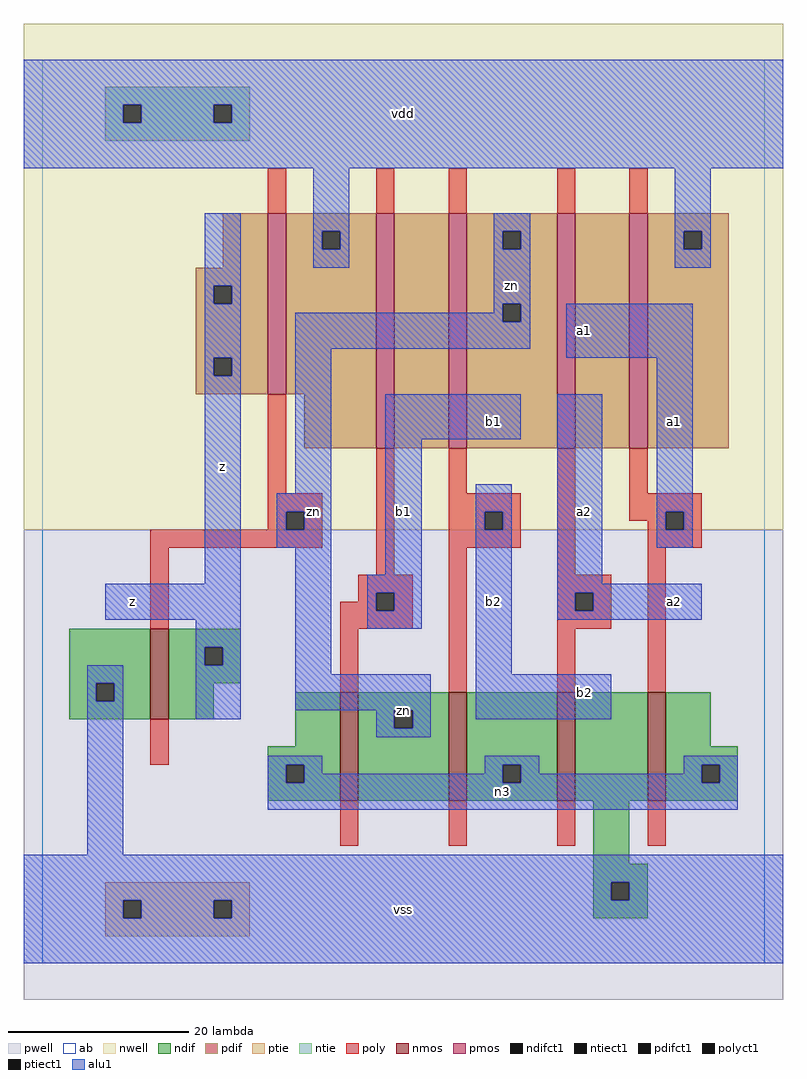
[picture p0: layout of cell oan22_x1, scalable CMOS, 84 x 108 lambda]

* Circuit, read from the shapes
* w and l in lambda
.subckt oan22_x1 a1 a2 b1 b2 n3 vdd vss z zn
M1 z zn vss vss nfet w=10 l=2
M2 zn b1 n3 vss nfet w=12 l=2
M3 n3 b2 zn vss nfet w=12 l=2
M4 vss a2 n3 vss nfet w=12 l=2
M5 n3 a1 vss vss nfet w=12 l=2
M6 vdd zn z vdd pfet w=20 l=2
M7 n1 b1 vdd vdd pfet w=26 l=2
M8 zn b2 n1 vdd pfet w=26 l=2
M9 n2 a2 zn vdd pfet w=26 l=2
M10 vdd a1 n2 vdd pfet w=26 l=2
.ends

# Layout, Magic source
magic
tech scmos
<< ab >>
rect 0 0 80 100
<< nwell >>
rect -2 48 82 104
<< pwell >>
rect -2 -4 82 48
<< poly >>
rect 25 83 27 88
rect 37 83 39 88
rect 45 83 47 88
rect 57 83 59 88
rect 65 83 67 88
rect 25 52 27 63
rect 25 50 31 52
rect 25 48 27 50
rect 29 48 31 50
rect 12 46 31 48
rect 12 37 14 46
rect 37 43 39 57
rect 45 52 47 57
rect 45 50 53 52
rect 45 48 49 50
rect 51 48 53 50
rect 45 46 53 48
rect 35 41 41 43
rect 35 40 37 41
rect 33 39 37 40
rect 39 39 41 41
rect 33 37 41 39
rect 33 30 35 37
rect 45 30 47 46
rect 57 43 59 57
rect 65 52 67 57
rect 65 50 73 52
rect 65 49 69 50
rect 67 48 69 49
rect 71 48 73 50
rect 67 46 73 48
rect 57 41 63 43
rect 57 39 59 41
rect 61 39 63 41
rect 57 37 63 39
rect 57 30 59 37
rect 67 30 69 46
rect 12 22 14 27
rect 33 13 35 18
rect 45 13 47 18
rect 57 13 59 18
rect 67 13 69 18
<< ndif >>
rect 3 31 12 37
rect 3 29 6 31
rect 8 29 12 31
rect 3 27 12 29
rect 14 35 22 37
rect 14 33 18 35
rect 20 33 22 35
rect 14 31 22 33
rect 14 27 19 31
rect 28 24 33 30
rect 25 22 33 24
rect 25 20 27 22
rect 29 20 33 22
rect 25 18 33 20
rect 35 28 45 30
rect 35 26 39 28
rect 41 26 45 28
rect 35 18 45 26
rect 47 22 57 30
rect 47 20 51 22
rect 53 20 57 22
rect 47 18 57 20
rect 59 18 67 30
rect 69 24 74 30
rect 69 22 77 24
rect 69 20 73 22
rect 75 20 77 22
rect 69 18 77 20
rect 61 11 65 18
rect 61 9 67 11
rect 61 7 63 9
rect 65 7 67 9
rect 61 5 67 7
<< pdif >>
rect 20 77 25 83
rect 17 75 25 77
rect 17 73 19 75
rect 21 73 25 75
rect 17 67 25 73
rect 17 65 19 67
rect 21 65 25 67
rect 17 63 25 65
rect 27 81 37 83
rect 27 79 31 81
rect 33 79 37 81
rect 27 63 37 79
rect 29 57 37 63
rect 39 57 45 83
rect 47 81 57 83
rect 47 79 51 81
rect 53 79 57 81
rect 47 73 57 79
rect 47 71 51 73
rect 53 71 57 73
rect 47 57 57 71
rect 59 57 65 83
rect 67 81 76 83
rect 67 79 71 81
rect 73 79 76 81
rect 67 57 76 79
<< alu1 >>
rect -2 95 82 100
rect -2 93 9 95
rect 11 93 19 95
rect 21 93 82 95
rect -2 88 82 93
rect 18 75 22 83
rect 30 81 34 88
rect 30 79 31 81
rect 33 79 34 81
rect 30 77 34 79
rect 50 81 54 83
rect 50 79 51 81
rect 53 79 54 81
rect 18 73 19 75
rect 21 73 22 75
rect 18 67 22 73
rect 50 73 54 79
rect 70 81 74 88
rect 70 79 71 81
rect 73 79 74 81
rect 70 77 74 79
rect 50 72 51 73
rect 18 65 19 67
rect 21 65 22 67
rect 18 42 22 65
rect 28 71 51 72
rect 53 71 54 73
rect 28 68 54 71
rect 28 52 32 68
rect 58 67 72 73
rect 26 50 32 52
rect 26 48 27 50
rect 29 48 32 50
rect 26 46 32 48
rect 7 38 22 42
rect 17 35 22 38
rect 17 33 18 35
rect 20 33 22 35
rect 5 31 9 33
rect 5 29 6 31
rect 8 29 9 31
rect 5 12 9 29
rect 17 27 22 33
rect 28 32 32 46
rect 38 58 53 63
rect 38 43 42 58
rect 36 41 42 43
rect 36 39 37 41
rect 39 39 42 41
rect 36 37 42 39
rect 48 50 52 53
rect 48 48 49 50
rect 51 48 52 50
rect 48 32 52 48
rect 57 42 62 63
rect 68 50 72 67
rect 68 48 69 50
rect 71 48 72 50
rect 68 46 72 48
rect 57 41 73 42
rect 57 39 59 41
rect 61 39 73 41
rect 57 38 73 39
rect 28 28 43 32
rect 37 26 39 28
rect 41 26 43 28
rect 48 27 63 32
rect 37 25 43 26
rect 25 22 31 23
rect 25 20 27 22
rect 29 21 31 22
rect 49 22 55 23
rect 49 21 51 22
rect 29 20 51 21
rect 53 21 55 22
rect 71 22 77 23
rect 71 21 73 22
rect 53 20 73 21
rect 75 20 77 22
rect 25 17 77 20
rect -2 9 82 12
rect -2 7 63 9
rect 65 7 82 9
rect -2 5 9 7
rect 11 5 19 7
rect 21 5 82 7
rect -2 0 82 5
<< ptie >>
rect 7 7 23 9
rect 7 5 9 7
rect 11 5 19 7
rect 21 5 23 7
rect 7 3 23 5
<< ntie >>
rect 7 95 23 97
rect 7 93 9 95
rect 11 93 19 95
rect 21 93 23 95
rect 7 91 23 93
<< nmos >>
rect 12 27 14 37
rect 33 18 35 30
rect 45 18 47 30
rect 57 18 59 30
rect 67 18 69 30
<< pmos >>
rect 25 63 27 83
rect 37 57 39 83
rect 45 57 47 83
rect 57 57 59 83
rect 65 57 67 83
<< polyct1 >>
rect 27 48 29 50
rect 49 48 51 50
rect 37 39 39 41
rect 69 48 71 50
rect 59 39 61 41
<< ndifct1 >>
rect 6 29 8 31
rect 18 33 20 35
rect 27 20 29 22
rect 39 26 41 28
rect 51 20 53 22
rect 73 20 75 22
rect 63 7 65 9
<< ntiect1 >>
rect 9 93 11 95
rect 19 93 21 95
<< ptiect1 >>
rect 9 5 11 7
rect 19 5 21 7
<< pdifct1 >>
rect 19 73 21 75
rect 19 65 21 67
rect 31 79 33 81
rect 51 79 53 81
rect 51 71 53 73
rect 71 79 73 81
<< labels >>
rlabel alu1 10 40 10 40 6 z
rlabel alu1 20 55 20 55 6 z
rlabel alu1 40 6 40 6 6 vss
rlabel alu1 40 28 40 28 6 zn
rlabel alu1 40 50 40 50 6 b1
rlabel alu1 30 50 30 50 6 zn
rlabel alu1 40 94 40 94 6 vdd
rlabel alu1 60 30 60 30 6 b2
rlabel alu1 50 40 50 40 6 b2
rlabel alu1 60 50 60 50 6 a2
rlabel alu1 50 60 50 60 6 b1
rlabel alu1 60 70 60 70 6 a1
rlabel alu1 52 75 52 75 6 zn
rlabel alu1 51 19 51 19 6 n3
rlabel alu1 70 40 70 40 6 a2
rlabel alu1 70 60 70 60 6 a1
<< end >>
